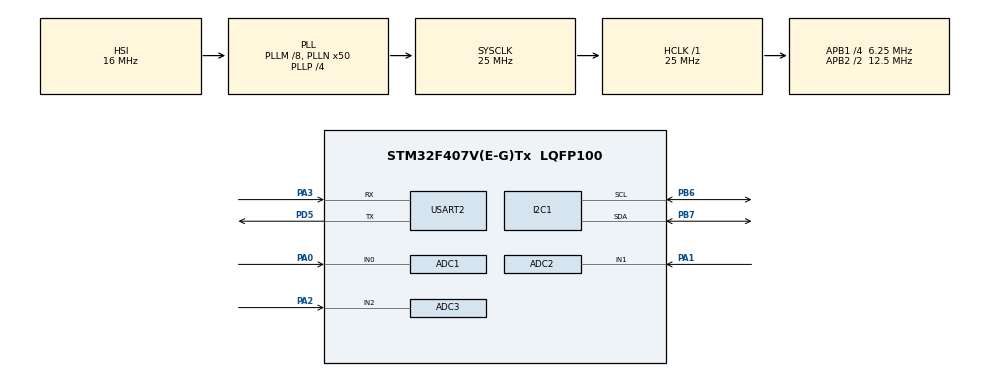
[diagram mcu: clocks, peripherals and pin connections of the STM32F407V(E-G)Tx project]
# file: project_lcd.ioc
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ADC1.Channel-0\#ChannelRegularConversion=ADC_CHANNEL_0
ADC1.ClockPrescaler=ADC_CLOCK_SYNC_PCLK_DIV4
ADC1.NbrOfConversionFlag=1
ADC1.Rank-0\#ChannelRegularConversion=1
ADC1.SamplingTime-0\#ChannelRegularConversion=ADC_SAMPLETIME_3CYCLES
ADC1.master=1
ADC2.Channel-0\#ChannelRegularConversion=ADC_CHANNEL_1
ADC2.ClockPrescaler=ADC_CLOCK_SYNC_PCLK_DIV4
ADC2.NbrOfConversionFlag=1
ADC2.Rank-0\#ChannelRegularConversion=1
ADC2.SamplingTime-0\#ChannelRegularConversion=ADC_SAMPLETIME_3CYCLES
ADC3.Channel-0\#ChannelRegularConversion=ADC_CHANNEL_2
ADC3.ClockPrescaler=ADC_CLOCK_SYNC_PCLK_DIV4
ADC3.NbrOfConversionFlag=1
ADC3.Rank-0\#ChannelRegularConversion=1
ADC3.SamplingTime-0\#ChannelRegularConversion=ADC_SAMPLETIME_3CYCLES
Mcu.Family=STM32F4
Mcu.Name=STM32F407V(E-G)Tx
Mcu.Package=LQFP100
NVIC.PriorityGroup=NVIC_PRIORITYGROUP_0
PA0-WKUP.Signal=ADCx_IN0
PA1.Signal=ADCx_IN1
PA2.Signal=ADCx_IN2
PA3.Mode=Asynchronous
PA3.Signal=USART2_RX
PB6.Mode=I2C
PB6.Signal=I2C1_SCL
PB7.Mode=I2C
PB7.Signal=I2C1_SDA
PD5.Mode=Asynchronous
PD5.Signal=USART2_TX
ProjectManager.HeapSize=0x200
ProjectManager.StackSize=0x400
ProjectManager.TargetToolchain=STM32CubeIDE
RCC.48MHZClocksFreq_Value=14285714.285714285
RCC.AHBFreq_Value=25000000
RCC.APB1CLKDivider=RCC_HCLK_DIV4
RCC.APB1Freq_Value=6250000
RCC.APB1TimFreq_Value=12500000
RCC.APB2CLKDivider=RCC_HCLK_DIV2
RCC.APB2Freq_Value=12500000
RCC.APB2TimFreq_Value=25000000
RCC.CortexFreq_Value=25000000
RCC.HCLKFreq_Value=25000000
RCC.HSE_VALUE=8000000
RCC.HSI_VALUE=16000000
RCC.LSE_VALUE=32768
RCC.PLLM=8
RCC.PLLN=50
RCC.PLLP=RCC_PLLP_DIV4
RCC.PLLQ=7
RCC.SYSCLKFreq_VALUE=25000000
RCC.SYSCLKSource=RCC_SYSCLKSOURCE_PLLCLK
RCC.VCOOutputFreq_Value=100000000
SH.ADCx_IN0.0=ADC1_IN0,IN0
SH.ADCx_IN1.0=ADC2_IN1,IN1
SH.ADCx_IN2.0=ADC3_IN2,IN2
USART2.VirtualMode=VM_ASYNC
board=STM32F407G-DISC1

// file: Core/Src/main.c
/* USER CODE BEGIN Header */
/**
  ******************************************************************************
  * @file           : main.c
  * @brief          : Main program body
  ******************************************************************************
  * @attention
  *
  * Copyright (c) 2024 STMicroelectronics.
  * All rights reserved.
  *
  * This software is licensed under terms that can be found in the LICENSE file
  * in the root directory of this software component.
  * If no LICENSE file comes with this software, it is provided AS-IS.
  *
  ******************************************************************************
  */
/* USER CODE END Header */
#include "main.h"

/* USER CODE BEGIN Includes */
#include<stdio.h>
#include"lcd16x2_i2c.h"
#include<string.h>
#include<math.h>
/* USER CODE END Includes */

/* USER CODE BEGIN PM */
#define MQ2_RO 100.0
#define MQ7_RO 200.0
#define MQ131_RO 300.0
/* USER CODE END PM */

ADC_HandleTypeDef hadc1;
ADC_HandleTypeDef hadc2;
ADC_HandleTypeDef hadc3;

I2C_HandleTypeDef hi2c1;

UART_HandleTypeDef huart2;

void SystemClock_Config(void);
static void MX_GPIO_Init(void);
static void MX_I2C1_Init(void);
static void MX_ADC1_Init(void);
static void MX_ADC2_Init(void);
static void MX_ADC3_Init(void);
static void MX_USART2_UART_Init(void);

/* USER CODE BEGIN 0 */
int value;
char str[84],str1[15],str2[15],str3[34];
/* USER CODE END 0 */

int main(void)
{

  /* MCU Configuration--------------------------------------------------------*/

  /* Reset of all peripherals, Initializes the Flash interface and the Systick. */
  HAL_Init();

  /* Configure the system clock */
  SystemClock_Config();

  /* Initialize all configured peripherals */
  MX_GPIO_Init();
  MX_I2C1_Init();
  MX_ADC1_Init();
  MX_ADC2_Init();
  MX_ADC3_Init();
  MX_USART2_UART_Init();
  /* USER CODE BEGIN 2 */
  if(lcd16x2_i2c_init(&hi2c1));
  HAL_Delay(300);
  lcd16x2_i2c_setCursor(0, 2);
  lcd16x2_i2c_printf(" Air Quality ");
  lcd16x2_i2c_setCursor(1, 0);
  lcd16x2_i2c_printf("Moniter System");
  HAL_Delay(4000);
  lcd16x2_i2c_clear();
  lcd16x2_i2c_setCursor(0, 0);
  lcd16x2_i2c_printf("MQ-2 MQ-7 MQ-135");
  /* USER CODE END 2 */

  /* Infinite loop */
  while (1)
  {
				HAL_ADC_Start(&hadc1);
				HAL_ADC_PollForConversion(&hadc1, HAL_MAX_DELAY);
				value=HAL_ADC_GetValue(&hadc1);
				HAL_ADC_Stop(&hadc1);
				//value= value* (5.0 / 1023.0);
				//value = value *9.8;
				sprintf(str1,"%d",value);
				lcd16x2_i2c_setCursor(1, 0);
				lcd16x2_i2c_printf(str1);
				HAL_Delay(500);
				sprintf(str1,"field1=%d&",value);

					//
				//HAL_UART_Transmit(&huart2, str, sizeof(str), HAL_MAX_DELAY);
				HAL_ADC_Stop(&hadc1);

				//HAL_Delay(1000);

				HAL_ADC_Start(&hadc2);
				HAL_ADC_PollForConversion(&hadc2, HAL_MAX_DELAY);
				value=HAL_ADC_GetValue(&hadc2);
				HAL_ADC_Stop(&hadc1);
				//value= value* (5.0 / 1023.0);
				//value = value * 9.8;
				sprintf(str2,"%d",value);
				lcd16x2_i2c_setCursor(1, 5);
				lcd16x2_i2c_printf(str2);
				sprintf(str2,"field2=%d&",value);
				//HAL_UART_Transmit(&huart2, str2, sizeof(str), HAL_MAX_DELAY);
				HAL_ADC_Stop(&hadc2);

				//HAL_Delay(1000);

				HAL_ADC_Start(&hadc3);
				HAL_ADC_PollForConversion(&hadc3, HAL_MAX_DELAY);
				value=HAL_ADC_GetValue(&hadc3);
				HAL_ADC_Stop(&hadc1);
				//value= value* (5.0 / 1023.0);
				//value = value * 9.8;
				sprintf(str3,"%d",value);
				lcd16x2_i2c_setCursor(1, 11);
				lcd16x2_i2c_printf(str3);
				sprintf(str3,"field3=%d\r\n",value);
				//HAL_UART_Transmit(&huart2, str, sizeof(str), HAL_MAX_DELAY);
				HAL_ADC_Stop(&hadc3);
				strcpy(str,str1);
				strcat(str,str2);
				strcat(str,str3);
				HAL_UART_Transmit(&huart2, (uint8_t *)str, sizeof(str), HAL_MAX_DELAY);
				HAL_Delay(15000);
  }
}

void SystemClock_Config(void)
{
  RCC_OscInitTypeDef RCC_OscInitStruct = {0};
  RCC_ClkInitTypeDef RCC_ClkInitStruct = {0};

  /** Configure the main internal regulator output voltage
  */
  __HAL_RCC_PWR_CLK_ENABLE();
  __HAL_PWR_VOLTAGESCALING_CONFIG(PWR_REGULATOR_VOLTAGE_SCALE1);

  /** Initializes the RCC Oscillators according to the specified parameters
  * in the RCC_OscInitTypeDef structure.
  */
  RCC_OscInitStruct.OscillatorType = RCC_OSCILLATORTYPE_HSI;
  RCC_OscInitStruct.HSIState = RCC_HSI_ON;
  RCC_OscInitStruct.HSICalibrationValue = RCC_HSICALIBRATION_DEFAULT;
  RCC_OscInitStruct.PLL.PLLState = RCC_PLL_ON;
  RCC_OscInitStruct.PLL.PLLSource = RCC_PLLSOURCE_HSI;
  RCC_OscInitStruct.PLL.PLLM = 8;
  RCC_OscInitStruct.PLL.PLLN = 50;
  RCC_OscInitStruct.PLL.PLLP = RCC_PLLP_DIV4;
  RCC_OscInitStruct.PLL.PLLQ = 7;
  if (HAL_RCC_OscConfig(&RCC_OscInitStruct) != HAL_OK)
  {
    Error_Handler();
  }

  /** Initializes the CPU, AHB and APB buses clocks
  */
  RCC_ClkInitStruct.ClockType = RCC_CLOCKTYPE_HCLK|RCC_CLOCKTYPE_SYSCLK
                              |RCC_CLOCKTYPE_PCLK1|RCC_CLOCKTYPE_PCLK2;
  RCC_ClkInitStruct.SYSCLKSource = RCC_SYSCLKSOURCE_PLLCLK;
  RCC_ClkInitStruct.AHBCLKDivider = RCC_SYSCLK_DIV1;
  RCC_ClkInitStruct.APB1CLKDivider = RCC_HCLK_DIV4;
  RCC_ClkInitStruct.APB2CLKDivider = RCC_HCLK_DIV2;

  if (HAL_RCC_ClockConfig(&RCC_ClkInitStruct, FLASH_LATENCY_0) != HAL_OK)
  {
    Error_Handler();
  }
}

static void MX_ADC1_Init(void)
{

  ADC_ChannelConfTypeDef sConfig = {0};

  /** Configure the global features of the ADC (Clock, Resolution, Data Alignment and number of conversion)
  */
  hadc1.Instance = ADC1;
  hadc1.Init.ClockPrescaler = ADC_CLOCK_SYNC_PCLK_DIV4;
  hadc1.Init.Resolution = ADC_RESOLUTION_12B;
  hadc1.Init.ScanConvMode = DISABLE;
  hadc1.Init.ContinuousConvMode = DISABLE;
  hadc1.Init.DiscontinuousConvMode = DISABLE;
  hadc1.Init.ExternalTrigConvEdge = ADC_EXTERNALTRIGCONVEDGE_NONE;
  hadc1.Init.ExternalTrigConv = ADC_SOFTWARE_START;
  hadc1.Init.DataAlign = ADC_DATAALIGN_RIGHT;
  hadc1.Init.NbrOfConversion = 1;
  hadc1.Init.DMAContinuousRequests = DISABLE;
  hadc1.Init.EOCSelection = ADC_EOC_SINGLE_CONV;
  if (HAL_ADC_Init(&hadc1) != HAL_OK)
  {
    Error_Handler();
  }

  /** Configure for the selected ADC regular channel its corresponding rank in the sequencer and its sample time.
  */
  sConfig.Channel = ADC_CHANNEL_0;
  sConfig.Rank = 1;
  sConfig.SamplingTime = ADC_SAMPLETIME_3CYCLES;
  if (HAL_ADC_ConfigChannel(&hadc1, &sConfig) != HAL_OK)
  {
    Error_Handler();
  }

}

static void MX_ADC2_Init(void)
{

  ADC_ChannelConfTypeDef sConfig = {0};

  /** Configure the global features of the ADC (Clock, Resolution, Data Alignment and number of conversion)
  */
  hadc2.Instance = ADC2;
  hadc2.Init.ClockPrescaler = ADC_CLOCK_SYNC_PCLK_DIV4;
  hadc2.Init.Resolution = ADC_RESOLUTION_12B;
  hadc2.Init.ScanConvMode = DISABLE;
  hadc2.Init.ContinuousConvMode = DISABLE;
  hadc2.Init.DiscontinuousConvMode = DISABLE;
  hadc2.Init.ExternalTrigConvEdge = ADC_EXTERNALTRIGCONVEDGE_NONE;
  hadc2.Init.ExternalTrigConv = ADC_SOFTWARE_START;
  hadc2.Init.DataAlign = ADC_DATAALIGN_RIGHT;
  hadc2.Init.NbrOfConversion = 1;
  hadc2.Init.DMAContinuousRequests = DISABLE;
  hadc2.Init.EOCSelection = ADC_EOC_SINGLE_CONV;
  if (HAL_ADC_Init(&hadc2) != HAL_OK)
  {
    Error_Handler();
  }

  /** Configure for the selected ADC regular channel its corresponding rank in the sequencer and its sample time.
  */
  sConfig.Channel = ADC_CHANNEL_1;
  sConfig.Rank = 1;
  sConfig.SamplingTime = ADC_SAMPLETIME_3CYCLES;
  if (HAL_ADC_ConfigChannel(&hadc2, &sConfig) != HAL_OK)
  {
    Error_Handler();
  }

}

static void MX_ADC3_Init(void)
{

  ADC_ChannelConfTypeDef sConfig = {0};

  /** Configure the global features of the ADC (Clock, Resolution, Data Alignment and number of conversion)
  */
  hadc3.Instance = ADC3;
  hadc3.Init.ClockPrescaler = ADC_CLOCK_SYNC_PCLK_DIV4;
  hadc3.Init.Resolution = ADC_RESOLUTION_12B;
  hadc3.Init.ScanConvMode = DISABLE;
  hadc3.Init.ContinuousConvMode = DISABLE;
  hadc3.Init.DiscontinuousConvMode = DISABLE;
  hadc3.Init.ExternalTrigConvEdge = ADC_EXTERNALTRIGCONVEDGE_NONE;
  hadc3.Init.ExternalTrigConv = ADC_SOFTWARE_START;
  hadc3.Init.DataAlign = ADC_DATAALIGN_RIGHT;
  hadc3.Init.NbrOfConversion = 1;
  hadc3.Init.DMAContinuousRequests = DISABLE;
  hadc3.Init.EOCSelection = ADC_EOC_SINGLE_CONV;
  if (HAL_ADC_Init(&hadc3) != HAL_OK)
  {
    Error_Handler();
  }

  /** Configure for the selected ADC regular channel its corresponding rank in the sequencer and its sample time.
  */
  sConfig.Channel = ADC_CHANNEL_2;
  sConfig.Rank = 1;
  sConfig.SamplingTime = ADC_SAMPLETIME_3CYCLES;
  if (HAL_ADC_ConfigChannel(&hadc3, &sConfig) != HAL_OK)
  {
    Error_Handler();
  }

}

static void MX_I2C1_Init(void)
{

  hi2c1.Instance = I2C1;
  hi2c1.Init.ClockSpeed = 100000;
  hi2c1.Init.DutyCycle = I2C_DUTYCYCLE_2;
  hi2c1.Init.OwnAddress1 = 0;
  hi2c1.Init.AddressingMode = I2C_ADDRESSINGMODE_7BIT;
  hi2c1.Init.DualAddressMode = I2C_DUALADDRESS_DISABLE;
  hi2c1.Init.OwnAddress2 = 0;
  hi2c1.Init.GeneralCallMode = I2C_GENERALCALL_DISABLE;
  hi2c1.Init.NoStretchMode = I2C_NOSTRETCH_DISABLE;
  if (HAL_I2C_Init(&hi2c1) != HAL_OK)
  {
    Error_Handler();
  }

}

static void MX_USART2_UART_Init(void)
{

  huart2.Instance = USART2;
  huart2.Init.BaudRate = 115200;
  huart2.Init.WordLength = UART_WORDLENGTH_8B;
  huart2.Init.StopBits = UART_STOPBITS_1;
  huart2.Init.Parity = UART_PARITY_NONE;
  huart2.Init.Mode = UART_MODE_TX_RX;
  huart2.Init.HwFlowCtl = UART_HWCONTROL_NONE;
  huart2.Init.OverSampling = UART_OVERSAMPLING_16;
  if (HAL_UART_Init(&huart2) != HAL_OK)
  {
    Error_Handler();
  }

}

static void MX_GPIO_Init(void)
{

  /* GPIO Ports Clock Enable */
  __HAL_RCC_GPIOA_CLK_ENABLE();
  __HAL_RCC_GPIOD_CLK_ENABLE();
  __HAL_RCC_GPIOB_CLK_ENABLE();

}

void Error_Handler(void)
{
  __disable_irq();
  while (1)
  {
  }
}
